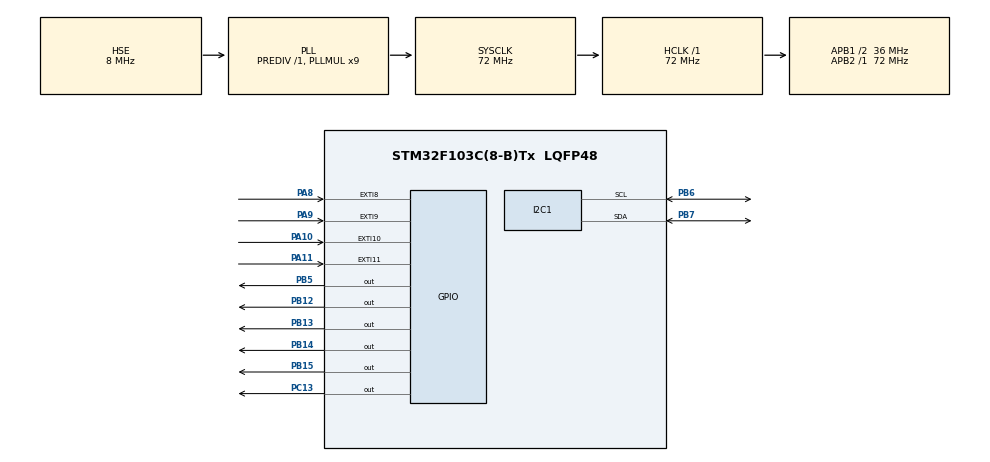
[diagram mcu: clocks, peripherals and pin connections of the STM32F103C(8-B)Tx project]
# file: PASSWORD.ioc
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Mcu.Family=STM32F1
Mcu.Name=STM32F103C(8-B)Tx
Mcu.Package=LQFP48
NVIC.EXTI15_10_IRQn=true\:0\:0\:false\:false\:true\:true\:true\:true
NVIC.EXTI9_5_IRQn=true\:0\:0\:false\:false\:true\:true\:true\:true
NVIC.PriorityGroup=NVIC_PRIORITYGROUP_4
PA10.Signal=GPXTI10
PA11.Signal=GPXTI11
PA13.Mode=Serial_Wire
PA13.Signal=SYS_JTMS-SWDIO
PA14.Mode=Serial_Wire
PA14.Signal=SYS_JTCK-SWCLK
PA8.Signal=GPXTI8
PA9.Signal=GPXTI9
PB12.GPIO_Speed=GPIO_SPEED_FREQ_HIGH
PB12.Signal=GPIO_Output
PB13.GPIO_Speed=GPIO_SPEED_FREQ_HIGH
PB13.Signal=GPIO_Output
PB14.GPIO_Speed=GPIO_SPEED_FREQ_HIGH
PB14.Signal=GPIO_Output
PB15.GPIO_Speed=GPIO_SPEED_FREQ_HIGH
PB15.Signal=GPIO_Output
PB5.GPIO_Speed=GPIO_SPEED_FREQ_HIGH
PB5.Signal=GPIO_Output
PB6.Mode=I2C
PB6.Signal=I2C1_SCL
PB7.Mode=I2C
PB7.Signal=I2C1_SDA
PC13-TAMPER-RTC.GPIO_Speed=GPIO_SPEED_FREQ_HIGH
PC13-TAMPER-RTC.Signal=GPIO_Output
PD0-OSC_IN.Mode=HSE-External-Oscillator
PD0-OSC_IN.Signal=RCC_OSC_IN
PD1-OSC_OUT.Mode=HSE-External-Oscillator
PD1-OSC_OUT.Signal=RCC_OSC_OUT
ProjectManager.HeapSize=0x200
ProjectManager.StackSize=0x400
ProjectManager.TargetToolchain=STM32CubeIDE
RCC.AHBFreq_Value=72000000
RCC.APB1CLKDivider=RCC_HCLK_DIV2
RCC.APB1Freq_Value=36000000
RCC.APB1TimFreq_Value=72000000
RCC.APB2Freq_Value=72000000
RCC.APB2TimFreq_Value=72000000
RCC.HCLKFreq_Value=72000000
RCC.PLLMUL=RCC_PLL_MUL9
RCC.PLLSourceVirtual=RCC_PLLSOURCE_HSE
RCC.SYSCLKFreq_VALUE=72000000
RCC.SYSCLKSource=RCC_SYSCLKSOURCE_PLLCLK
RCC.USBFreq_Value=72000000
board=custom

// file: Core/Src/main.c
/* USER CODE BEGIN Header */
/**
  ******************************************************************************
  * @file           : main.c
  * @brief          : Main program body
  ******************************************************************************
  * @attention
  *
  * Copyright (c) 2024 STMicroelectronics.
  * All rights reserved.
  *
  * This software is licensed under terms that can be found in the LICENSE file
  * in the root directory of this software component.
  * If no LICENSE file comes with this software, it is provided AS-IS.
  *
  ******************************************************************************
  */
/* USER CODE END Header */
#include "main.h"

/* USER CODE BEGIN Includes */
#include "string.h"
#include "i2c-lcd.h"
#include "stdio.h"
#include <stdbool.h>
/* USER CODE END Includes */

I2C_HandleTypeDef hi2c1;

/* USER CODE BEGIN PV */
//MENU
uint8_t Mode0 = 0 ;
uint8_t Mode1 = 1 ;
uint8_t attempt = 0 ;
bool Mode = true  ;
uint16_t GPIO_Pin ;

//KEYPAD
GPIO_InitTypeDef GPIO_InitStructPrivate = {0};
uint32_t previousMillis = 0;
uint32_t currentMillis = 0 ;
uint8_t keyPressed = 0;

//PASSWORD
char input[6] = "000000";
char initial_password[6] = "311724";

/* USER CODE END PV */

void  SystemClock_Config(void);
static void MX_GPIO_Init(void);
static void MX_I2C1_Init(void);

/* USER CODE BEGIN PFP */

//void hienthilcd(){
//    lcd_clear();
//    lcd_put_cur(0, 0);
//    lcd_send_string("NHAP MAT KHAU");
//    attempt++;
//}

void checkpass(){
    if (strcmp(input, initial_password) == 0)
               {
                HAL_GPIO_WritePin(GPIOB, GPIO_PIN_5, 1 ); // Mở khóa cửa
	            lcd_clear();
	            lcd_put_cur(0, 0);
	            lcd_send_string("MAT KHAU DUNG");
                HAL_Delay(100);
//
//              if ( keyPressed == 68){
//              input[0]= input[1]=input[2]=input[3]=input[4]=input[5]= 48;
//              HAL_GPIO_WritePin(GPIOB, GPIO_PIN_5, 1 );}
                }

	        else
	           {
	            lcd_clear();
	            lcd_put_cur(0, 0);
	            lcd_send_string("MAT KHAU SAI") ;
	            input[0]= input[1]=input[2]=input[3]=input[4]=input[5]= 48;
	            HAL_Delay(2000);
	            if ( keyPressed != 65){attempt++;}
	            }

	            if (attempt >= 5)
	            {   lcd_clear();
                    lcd_put_cur(0, 0);
                    lcd_send_string("KHOA 5 PHUT");
	                HAL_Delay(10000); // Khóa 10s
	                attempt = 0;
	            }
	            else
	            {
	                HAL_Delay(1000); // Delay 1 giây
	            }

}
/* USER CODE END PFP */

int main(void)
{

  /* MCU Configuration--------------------------------------------------------*/

  /* Reset of all peripherals, Initializes the Flash interface and the Systick. */

	HAL_Init();

  /* Configure the system clock */
  SystemClock_Config();

  /* Initialize all configured peripherals */
  MX_GPIO_Init();
  MX_I2C1_Init();
  /* USER CODE BEGIN 2 */

    lcd_init();

    HAL_GPIO_WritePin(GPIOB, GPIO_PIN_12, 1);
    HAL_GPIO_WritePin(GPIOB, GPIO_PIN_13, 1);
    HAL_GPIO_WritePin(GPIOB, GPIO_PIN_14, 1);
    HAL_GPIO_WritePin(GPIOB, GPIO_PIN_15, 1);

    lcd_clear();
    lcd_put_cur(0, 0);
    lcd_send_string("NHAP MAT KHAU");
  /* USER CODE END 2 */

  /* Infinite loop */
  while (1)
  {

    /* USER CODE BEGIN 3 */

                   if ( keyPressed != 65)
                      { lcd_clear();
                        lcd_put_cur(0, 0);
                        lcd_send_string("NHAP MAT KHAU");
                        HAL_Delay(1000);}

	                    if(keyPressed == 51){input[0] = 51; }
	                    if(keyPressed == 49){input[1] = input[2] = 49; }
	                    if(keyPressed == 55){input[3] = 55; }
	                    if(keyPressed == 50){input[4] = 50; }
	                    if(keyPressed == 52){input[5] = 52; }

//	                    bool allDifferentFrom48 = true;
//	                    for (int i = 0; i < 6; i++) {
//	                        if (input[i] == 48) {
//	                            allDifferentFrom48 = false;
//	                            break;
//	                        }
//	                    }
//
//	                    if (allDifferentFrom48) {
//	                        lcd_put_cur(1, 0);
//	                        lcd_send_string("******");
//	                        HAL_Delay(100);
//	                    }

                        if ( keyPressed == 65 )
                        {checkpass();}

                        if ( keyPressed == 64){
                        HAL_GPIO_WritePin(GPIOB, GPIO_PIN_5, 0 );
                        lcd_clear();
                        lcd_put_cur(0, 0);
                        lcd_send_string("NHAP MAT KHAU");
                        HAL_Delay(1000);
                        input[0]= input[1]=input[2]=input[3]=input[4]=input[5]= 48;
                        }

  }
  /* USER CODE END 3 */
}

void SystemClock_Config(void)
{
  RCC_OscInitTypeDef RCC_OscInitStruct = {0};
  RCC_ClkInitTypeDef RCC_ClkInitStruct = {0};

  /** Initializes the RCC Oscillators according to the specified parameters
  * in the RCC_OscInitTypeDef structure.
  */
  RCC_OscInitStruct.OscillatorType = RCC_OSCILLATORTYPE_HSE;
  RCC_OscInitStruct.HSEState = RCC_HSE_ON;
  RCC_OscInitStruct.HSEPredivValue = RCC_HSE_PREDIV_DIV1;
  RCC_OscInitStruct.HSIState = RCC_HSI_ON;
  RCC_OscInitStruct.PLL.PLLState = RCC_PLL_ON;
  RCC_OscInitStruct.PLL.PLLSource = RCC_PLLSOURCE_HSE;
  RCC_OscInitStruct.PLL.PLLMUL = RCC_PLL_MUL9;
  if (HAL_RCC_OscConfig(&RCC_OscInitStruct) != HAL_OK)
  {
    Error_Handler();
  }

  /** Initializes the CPU, AHB and APB buses clocks
  */
  RCC_ClkInitStruct.ClockType = RCC_CLOCKTYPE_HCLK|RCC_CLOCKTYPE_SYSCLK
                              |RCC_CLOCKTYPE_PCLK1|RCC_CLOCKTYPE_PCLK2;
  RCC_ClkInitStruct.SYSCLKSource = RCC_SYSCLKSOURCE_PLLCLK;
  RCC_ClkInitStruct.AHBCLKDivider = RCC_SYSCLK_DIV1;
  RCC_ClkInitStruct.APB1CLKDivider = RCC_HCLK_DIV2;
  RCC_ClkInitStruct.APB2CLKDivider = RCC_HCLK_DIV1;

  if (HAL_RCC_ClockConfig(&RCC_ClkInitStruct, FLASH_LATENCY_2) != HAL_OK)
  {
    Error_Handler();
  }
}

static void MX_I2C1_Init(void)
{

  hi2c1.Instance = I2C1;
  hi2c1.Init.ClockSpeed = 100000;
  hi2c1.Init.DutyCycle = I2C_DUTYCYCLE_2;
  hi2c1.Init.OwnAddress1 = 0;
  hi2c1.Init.AddressingMode = I2C_ADDRESSINGMODE_7BIT;
  hi2c1.Init.DualAddressMode = I2C_DUALADDRESS_DISABLE;
  hi2c1.Init.OwnAddress2 = 0;
  hi2c1.Init.GeneralCallMode = I2C_GENERALCALL_DISABLE;
  hi2c1.Init.NoStretchMode = I2C_NOSTRETCH_DISABLE;
  if (HAL_I2C_Init(&hi2c1) != HAL_OK)
  {
    Error_Handler();
  }

}

static void MX_GPIO_Init(void)
{
  GPIO_InitTypeDef GPIO_InitStruct = {0};

  /* GPIO Ports Clock Enable */
  __HAL_RCC_GPIOC_CLK_ENABLE();
  __HAL_RCC_GPIOD_CLK_ENABLE();
  __HAL_RCC_GPIOB_CLK_ENABLE();
  __HAL_RCC_GPIOA_CLK_ENABLE();

  /*Configure GPIO pin Output Level */
  HAL_GPIO_WritePin(GPIOC, GPIO_PIN_13, GPIO_PIN_RESET);

  /*Configure GPIO pin Output Level */
  HAL_GPIO_WritePin(GPIOB, GPIO_PIN_12|GPIO_PIN_13|GPIO_PIN_14|GPIO_PIN_15
                          |GPIO_PIN_5, GPIO_PIN_RESET);

  /*Configure GPIO pin : PC13 */
  GPIO_InitStruct.Pin = GPIO_PIN_13;
  GPIO_InitStruct.Mode = GPIO_MODE_OUTPUT_PP;
  GPIO_InitStruct.Pull = GPIO_NOPULL;
  GPIO_InitStruct.Speed = GPIO_SPEED_FREQ_HIGH;
  HAL_GPIO_Init(GPIOC, &GPIO_InitStruct);

  /*Configure GPIO pins : PB12 PB13 PB14 PB15
                           PB5 */
  GPIO_InitStruct.Pin = GPIO_PIN_12|GPIO_PIN_13|GPIO_PIN_14|GPIO_PIN_15
                          |GPIO_PIN_5;
  GPIO_InitStruct.Mode = GPIO_MODE_OUTPUT_PP;
  GPIO_InitStruct.Pull = GPIO_NOPULL;
  GPIO_InitStruct.Speed = GPIO_SPEED_FREQ_HIGH;
  HAL_GPIO_Init(GPIOB, &GPIO_InitStruct);

  /*Configure GPIO pins : PA8 PA9 PA10 PA11 */
  GPIO_InitStruct.Pin = GPIO_PIN_8|GPIO_PIN_9|GPIO_PIN_10|GPIO_PIN_11;
  GPIO_InitStruct.Mode = GPIO_MODE_IT_RISING;
  GPIO_InitStruct.Pull = GPIO_NOPULL;
  HAL_GPIO_Init(GPIOA, &GPIO_InitStruct);

  /* EXTI interrupt init*/
  HAL_NVIC_SetPriority(EXTI9_5_IRQn, 0, 0);
  HAL_NVIC_EnableIRQ(EXTI9_5_IRQn);

  HAL_NVIC_SetPriority(EXTI15_10_IRQn, 0, 0);
  HAL_NVIC_EnableIRQ(EXTI15_10_IRQn);

}

/* USER CODE BEGIN 4 */
void HAL_GPIO_EXTI_Callback(uint16_t GPIO_Pin)
{
  currentMillis = HAL_GetTick();
  if (currentMillis - previousMillis > 10) {
    /*Configure GPIO pins : PA8 PA9 PA10 PA11 to GPIO_INPUT*/
    GPIO_InitStructPrivate.Pin = GPIO_PIN_8|GPIO_PIN_9|GPIO_PIN_10|GPIO_PIN_11;
    GPIO_InitStructPrivate.Mode = GPIO_MODE_INPUT;
    GPIO_InitStructPrivate.Pull = GPIO_NOPULL;
    GPIO_InitStructPrivate.Speed = GPIO_SPEED_FREQ_LOW;
    HAL_GPIO_Init(GPIOA, &GPIO_InitStructPrivate);

    HAL_GPIO_WritePin(GPIOB, GPIO_PIN_12, 1);
    HAL_GPIO_WritePin(GPIOB, GPIO_PIN_13, 0);
    HAL_GPIO_WritePin(GPIOB, GPIO_PIN_14, 0);
    HAL_GPIO_WritePin(GPIOB, GPIO_PIN_15, 0);
    if(GPIO_Pin == GPIO_PIN_8 && HAL_GPIO_ReadPin(GPIOA, GPIO_PIN_8))
    {
      while(HAL_GPIO_ReadPin(GPIOB,GPIO_PIN_8)==0){}
      keyPressed = 49; //ASCII value of 1

    }
    else if(GPIO_Pin == GPIO_PIN_9 && HAL_GPIO_ReadPin(GPIOA, GPIO_PIN_9))
    {
      while(HAL_GPIO_ReadPin(GPIOB,GPIO_PIN_9)==0){}
      keyPressed = 53; //ASCII value of 5

    }
    else if(GPIO_Pin == GPIO_PIN_10 && HAL_GPIO_ReadPin(GPIOA, GPIO_PIN_10))
    {
      while(HAL_GPIO_ReadPin(GPIOB,GPIO_PIN_10)==0){}
      keyPressed = 57; //ASCII value of 9

    }
    else if(GPIO_Pin == GPIO_PIN_11 && HAL_GPIO_ReadPin(GPIOA, GPIO_PIN_11))
    {
      while(HAL_GPIO_ReadPin(GPIOB,GPIO_PIN_11)==0){}
      keyPressed = 65; //ASCII value of A

    }

        HAL_GPIO_WritePin(GPIOB, GPIO_PIN_12, 0);
        HAL_GPIO_WritePin(GPIOB, GPIO_PIN_13, 1);
        HAL_GPIO_WritePin(GPIOB, GPIO_PIN_14, 0);
        HAL_GPIO_WritePin(GPIOB, GPIO_PIN_15, 0);
    if(GPIO_Pin == GPIO_PIN_8 && HAL_GPIO_ReadPin(GPIOA, GPIO_PIN_8))
    {
      while(HAL_GPIO_ReadPin(GPIOB,GPIO_PIN_8)==0){}
      keyPressed = 50; //ASCII value of 2

    }
    else if(GPIO_Pin == GPIO_PIN_9 && HAL_GPIO_ReadPin(GPIOA, GPIO_PIN_9))
    {
      while(HAL_GPIO_ReadPin(GPIOB,GPIO_PIN_9)==0){}
      keyPressed = 54; //ASCII value of 6

    }
    else if(GPIO_Pin == GPIO_PIN_10 && HAL_GPIO_ReadPin(GPIOA, GPIO_PIN_10))
    {
      while(HAL_GPIO_ReadPin(GPIOB,GPIO_PIN_10)==0){}
      keyPressed = 42; //ASCII value of *

    }
    else if(GPIO_Pin == GPIO_PIN_11 && HAL_GPIO_ReadPin(GPIOA, GPIO_PIN_11))
    {
      while(HAL_GPIO_ReadPin(GPIOB,GPIO_PIN_11)==0){}
      keyPressed = 66; //ASCII value of B

    }
        HAL_GPIO_WritePin(GPIOB, GPIO_PIN_12, 0);
        HAL_GPIO_WritePin(GPIOB, GPIO_PIN_13, 0);
        HAL_GPIO_WritePin(GPIOB, GPIO_PIN_14, 1);
        HAL_GPIO_WritePin(GPIOB, GPIO_PIN_15, 0);
    if(GPIO_Pin == GPIO_PIN_8 && HAL_GPIO_ReadPin(GPIOA, GPIO_PIN_8))
    {
      while(HAL_GPIO_ReadPin(GPIOB,GPIO_PIN_8)==0){}
      keyPressed = 51; //ASCII value of 3

    }
    else if(GPIO_Pin == GPIO_PIN_9 && HAL_GPIO_ReadPin(GPIOA, GPIO_PIN_9))
    {
      while(HAL_GPIO_ReadPin(GPIOB,GPIO_PIN_9)==0){}
      keyPressed = 55; //ASCII value of 7

    }
    else if(GPIO_Pin == GPIO_PIN_10 && HAL_GPIO_ReadPin(GPIOA, GPIO_PIN_10))
    {
       while(HAL_GPIO_ReadPin(GPIOB,GPIO_PIN_10)==0){}
       keyPressed = 35; //ASCII value of  #

    }
    else if(GPIO_Pin == GPIO_PIN_11 && HAL_GPIO_ReadPin(GPIOA, GPIO_PIN_11))
    {
       while(HAL_GPIO_ReadPin(GPIOB,GPIO_PIN_11)==0){}
       keyPressed = 67; //ASCII value of C

    }

         HAL_GPIO_WritePin(GPIOB, GPIO_PIN_12, 0);
         HAL_GPIO_WritePin(GPIOB, GPIO_PIN_13, 0);
         HAL_GPIO_WritePin(GPIOB, GPIO_PIN_14, 0);
         HAL_GPIO_WritePin(GPIOB, GPIO_PIN_15, 1);
    if(GPIO_Pin == GPIO_PIN_8 && HAL_GPIO_ReadPin(GPIOA, GPIO_PIN_8))
    {
      while(HAL_GPIO_ReadPin(GPIOB,GPIO_PIN_8)==0){}
      keyPressed = 52; //ASCII value of 4

    }
    else if(GPIO_Pin == GPIO_PIN_9 && HAL_GPIO_ReadPin(GPIOA, GPIO_PIN_9))
    {
      while(HAL_GPIO_ReadPin(GPIOB,GPIO_PIN_9)==0){}
      keyPressed = 56; //ASCII value of 8

    }
    else if(GPIO_Pin == GPIO_PIN_10 && HAL_GPIO_ReadPin(GPIOA, GPIO_PIN_10))
    {
      while(HAL_GPIO_ReadPin(GPIOB,GPIO_PIN_10)==0){}
      keyPressed = 64; //ASCII value of @

    }
    else if(GPIO_Pin == GPIO_PIN_11 && HAL_GPIO_ReadPin(GPIOA, GPIO_PIN_11))
    {
      while(HAL_GPIO_ReadPin(GPIOB,GPIO_PIN_11)==0){}
      keyPressed = 68; //ASCII value of D

    }

    HAL_GPIO_WritePin(GPIOB, GPIO_PIN_12, 1);
    HAL_GPIO_WritePin(GPIOB, GPIO_PIN_13, 1);
    HAL_GPIO_WritePin(GPIOB, GPIO_PIN_14, 1);
    HAL_GPIO_WritePin(GPIOB, GPIO_PIN_15, 1);
    /*Configure GPIO pins : PA8 PA9 PA10 PA11 back to EXTI*/
    GPIO_InitStructPrivate.Mode = GPIO_MODE_IT_RISING;
    GPIO_InitStructPrivate.Pull = GPIO_PULLDOWN;
    HAL_GPIO_Init(GPIOA, &GPIO_InitStructPrivate);
    previousMillis = currentMillis;

  }
}

/* USER CODE END 4 */

void Error_Handler(void)
{
  __disable_irq();
  while (1)
  {
  }
}
